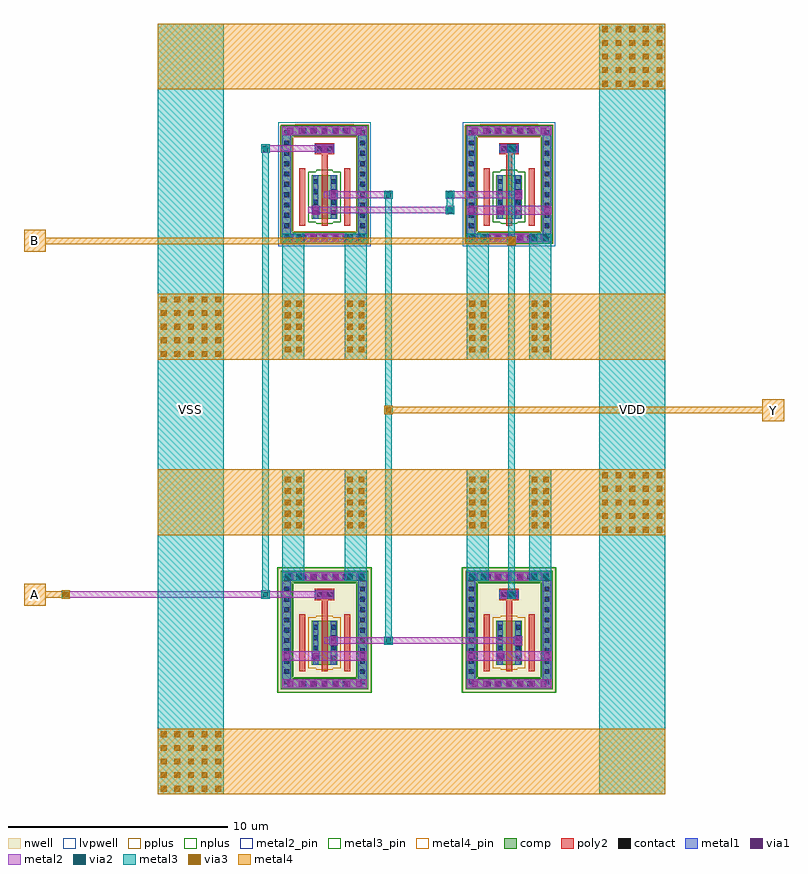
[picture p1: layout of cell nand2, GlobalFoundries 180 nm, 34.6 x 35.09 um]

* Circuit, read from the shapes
.subckt nand2 A B VDD VSS Y
XM1 Y A nand2_MN1_2/n1 VSS nfet_03v3 w=2u l=0.28u
XM2 nand2_MN1_2/n1 B VSS VSS nfet_03v3 w=2u l=0.28u
XM3 Y A VDD VDD pfet_03v3 w=2u l=0.28u
XM4 Y B VDD VDD pfet_03v3 w=2u l=0.28u
.ends

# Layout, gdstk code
import gdstk
lib = gdstk.Library(unit=1e-6, precision=1e-09)
def R(c, l, rs):  # rectangles x0, y0, x1, y1
    for r in rs: c.add(gdstk.rectangle(r[:2], r[2:], *l))
def A(c, l, x, y, w, h, nx, ny, dx, dy):  # array of equal rectangles
    R(c, l, [(x+i*dx, y+j*dy, x+i*dx+w, y+j*dy+h) for i in range(nx) for j in range(ny)])
nwell = (21, 0)
comp = (22, 0)
poly2 = (30, 0)
pplus = (31, 0)
nplus = (32, 0)
contact = (33, 0)
metal1 = (34, 0)
via1 = (35, 0)
metal2 = (36, 0)
metal2_pin = (36, 10)
via2 = (38, 0)
via3 = (40, 0)
metal3 = (42, 0)
metal3_pin = (42, 10)
metal4 = (46, 0)
metal4_pin = (46, 10)
lvpwell = (204, 0)

nand2_mp1 = lib.new_cell('nand2_MP1')
R(nand2_mp1, nwell, [(-1.52,-0.94,2.69,4.695)])
R(nand2_mp1, comp, [(-1.4,-0.82,2.57,-0.3), (-1.4,-0.3,-0.88,4.055), (2.05,-0.3,2.57,4.055), (0,0.3,1.17,2.3), (-1.4,4.055,2.57,4.575)])
R(nand2_mp1, poly2, [(-0.58,0,-0.3,2.6), (0.445,0,0.725,3.245), (1.47,0,1.75,2.6), (0.135,3.245,1.035,3.755)])
R(nand2_mp1, pplus, [(0.215,0.07,0.955,0.14), (-0.16,0.14,1.33,2.46), (0.215,2.46,0.955,2.53)])
R(nand2_mp1, nplus, [(-1.56,-0.98,2.73,-0.27), (-1.56,-0.27,-0.85,4.025), (2.02,-0.27,2.73,4.025), (-1.56,4.025,2.73,4.735)])
A(nand2_mp1, contact, -0.465, -0.67, 0.22, 0.22, 5, 2, 0.47, 4.875)
A(nand2_mp1, contact, -1.25, -0.585, 0.22, 0.22, 1, 11, 0, 0.47)
A(nand2_mp1, contact, 2.2, -0.585, 0.22, 0.22, 1, 11, 0, 0.47)
A(nand2_mp1, contact, 0.07, 0.485, 0.22, 0.22, 1, 4, 0, 0.47)
A(nand2_mp1, contact, 0.88, 0.485, 0.22, 0.22, 1, 4, 0, 0.47)
R(nand2_mp1, contact, [(0.24,3.39,0.46,3.61), (0.71,3.39,0.93,3.61)])
R(nand2_mp1, metal1, [(-1.335,-0.755,2.505,-0.365), (-1.335,-0.365,-0.945,4.12), (2.115,-0.365,2.505,4.12), (0.065,0.31,0.295,0.49), (0.875,0.31,1.105,1.19), (-0.01,0.49,0.37,0.91), (0.065,0.91,0.295,2.29), (0.8,1.19,1.18,1.61), (0.875,1.61,1.105,2.29), (0.145,3.31,1.025,3.69), (-1.335,4.12,2.505,4.51)])
A(nand2_mp1, via1, -1.105, -0.69, 0.26, 0.26, 7, 2, 0.52, 4.875)
R(nand2_mp1, via1, [(-1.27,0.57,-1.01,0.83), (0.05,0.57,0.31,0.83), (2.18,0.57,2.44,0.83), (0.86,1.27,1.12,1.53), (0.455,3.37,0.715,3.63)])
R(nand2_mp1, metal2, [(-1.335,-0.755,2.505,-0.365), (-1.335,0.49,2.505,0.91), (0.8,1.19,1.18,1.61), (0.2,3.31,0.97,3.69), (-1.335,4.12,2.505,4.51)])
R(nand2_mp1, metal2_pin, [(-1.335,-0.755,2.505,-0.365), (0.8,1.19,1.18,1.61), (0.2,3.31,0.97,3.69)])
nand2_mp1.add(gdstk.Label('Y', (0.99,1.4), layer=36, texttype=10))
nand2_mp1.add(gdstk.Label('A', (0.585,3.5), layer=36, texttype=10))
nand2_mp1.add(gdstk.Label('VDD', (0.585,-0.56), layer=36, texttype=10))

nand2_mp2 = lib.new_cell('nand2_MP2')
R(nand2_mp2, nwell, [(-1.52,-0.94,2.69,4.695)])
R(nand2_mp2, comp, [(-1.4,-0.82,2.57,-0.3), (-1.4,-0.3,-0.88,4.055), (2.05,-0.3,2.57,4.055), (0,0.3,1.17,2.3), (-1.4,4.055,2.57,4.575)])
R(nand2_mp2, poly2, [(-0.58,0,-0.3,2.6), (0.445,0,0.725,3.245), (1.47,0,1.75,2.6), (0.135,3.245,1.035,3.755)])
R(nand2_mp2, pplus, [(0.215,0.07,0.955,0.14), (-0.16,0.14,1.33,2.46), (0.215,2.46,0.955,2.53)])
R(nand2_mp2, nplus, [(-1.56,-0.98,2.73,-0.27), (-1.56,-0.27,-0.85,4.025), (2.02,-0.27,2.73,4.025), (-1.56,4.025,2.73,4.735)])
A(nand2_mp2, contact, -0.465, -0.67, 0.22, 0.22, 5, 2, 0.47, 4.875)
A(nand2_mp2, contact, -1.25, -0.585, 0.22, 0.22, 1, 11, 0, 0.47)
A(nand2_mp2, contact, 2.2, -0.585, 0.22, 0.22, 1, 11, 0, 0.47)
A(nand2_mp2, contact, 0.07, 0.485, 0.22, 0.22, 1, 4, 0, 0.47)
A(nand2_mp2, contact, 0.88, 0.485, 0.22, 0.22, 1, 4, 0, 0.47)
R(nand2_mp2, contact, [(0.24,3.39,0.46,3.61), (0.71,3.39,0.93,3.61)])
R(nand2_mp2, metal1, [(-1.335,-0.755,2.505,-0.365), (-1.335,-0.365,-0.945,4.12), (2.115,-0.365,2.505,4.12), (0.065,0.31,0.295,0.49), (0.875,0.31,1.105,1.19), (-0.01,0.49,0.37,0.91), (0.065,0.91,0.295,2.29), (0.8,1.19,1.18,1.61), (0.875,1.61,1.105,2.29), (0.145,3.31,1.025,3.69), (-1.335,4.12,2.505,4.51)])
A(nand2_mp2, via1, -1.105, -0.69, 0.26, 0.26, 7, 2, 0.52, 4.875)
R(nand2_mp2, via1, [(-1.27,0.57,-1.01,0.83), (0.05,0.57,0.31,0.83), (2.18,0.57,2.44,0.83), (0.86,1.27,1.12,1.53), (0.455,3.37,0.715,3.63)])
R(nand2_mp2, metal2, [(-1.335,-0.755,2.505,-0.365), (-1.335,0.49,2.505,0.91), (0.8,1.19,1.18,1.61), (0.2,3.31,0.97,3.69), (-1.335,4.12,2.505,4.51)])
R(nand2_mp2, metal2_pin, [(-1.335,-0.755,2.505,-0.365), (0.8,1.19,1.18,1.61), (0.2,3.31,0.97,3.69)])
nand2_mp2.add(gdstk.Label('Y', (0.99,1.4), layer=36, texttype=10))
nand2_mp2.add(gdstk.Label('B', (0.585,3.5), layer=36, texttype=10))
nand2_mp2.add(gdstk.Label('VDD', (0.585,-0.56), layer=36, texttype=10))

nand2_mn1 = lib.new_cell('nand2_MN1')
R(nand2_mn1, comp, [(-1.4,-0.82,2.57,-0.3), (-1.4,-0.3,-0.88,4.055), (2.05,-0.3,2.57,4.055), (0,0.3,1.17,2.3), (-1.4,4.055,2.57,4.575)])
R(nand2_mn1, poly2, [(-0.58,0,-0.3,2.6), (0.445,0,0.725,3.245), (1.47,0,1.75,2.6), (0.135,3.245,1.035,3.755)])
R(nand2_mn1, pplus, [(-0.74,-0.85,1.91,-0.84), (-1.42,-0.84,2.59,-0.795), (-1.43,-0.795,2.6,-0.27), (-1.43,-0.27,-0.85,4.025), (2.02,-0.27,2.6,4.025), (-1.43,4.025,2.6,4.55), (-1.42,4.55,2.59,4.595), (-0.74,4.595,1.91,4.605)])
R(nand2_mn1, nplus, [(0.215,0.07,0.955,0.14), (-0.16,0.14,1.33,2.46), (0.215,2.46,0.955,2.53)])
A(nand2_mn1, contact, -0.465, -0.67, 0.22, 0.22, 5, 2, 0.47, 4.875)
A(nand2_mn1, contact, -1.25, -0.585, 0.22, 0.22, 1, 11, 0, 0.47)
A(nand2_mn1, contact, 2.2, -0.585, 0.22, 0.22, 1, 11, 0, 0.47)
A(nand2_mn1, contact, 0.07, 0.485, 0.22, 0.22, 1, 4, 0, 0.47)
A(nand2_mn1, contact, 0.88, 0.485, 0.22, 0.22, 1, 4, 0, 0.47)
R(nand2_mn1, contact, [(0.24,3.39,0.46,3.61), (0.71,3.39,0.93,3.61)])
R(nand2_mn1, metal1, [(-1.335,-0.755,2.505,-0.365), (-1.335,-0.365,-0.945,4.12), (2.115,-0.365,2.505,4.12), (0.065,0.31,0.295,0.49), (0.875,0.31,1.105,1.19), (-0.01,0.49,0.37,0.91), (0.065,0.91,0.295,2.29), (0.8,1.19,1.18,1.61), (0.875,1.61,1.105,2.29), (0.145,3.31,1.025,3.69), (-1.335,4.12,2.505,4.51)])
A(nand2_mn1, via1, -1.105, -0.69, 0.26, 0.26, 7, 2, 0.52, 4.875)
R(nand2_mn1, via1, [(0.05,0.57,0.31,0.83), (0.86,1.27,1.12,1.53), (0.455,3.37,0.715,3.63)])
R(nand2_mn1, metal2, [(-1.335,-0.755,2.505,-0.365), (-0.01,0.49,0.37,0.91), (0.8,1.19,1.18,1.61), (0.2,3.31,0.97,3.69), (-1.335,4.12,2.505,4.51)])
R(nand2_mn1, metal2_pin, [(-1.335,-0.755,2.505,-0.365), (-0.01,0.49,0.37,0.91), (0.8,1.19,1.18,1.61), (0.2,3.31,0.97,3.69)])
R(nand2_mn1, lvpwell, [(-1.52,-0.94,2.69,4.695)])
nand2_mn1.add(gdstk.Label('n1', (0.18,0.7), layer=36, texttype=10))
nand2_mn1.add(gdstk.Label('Y', (0.99,1.4), layer=36, texttype=10))
nand2_mn1.add(gdstk.Label('A', (0.585,3.5), layer=36, texttype=10))
nand2_mn1.add(gdstk.Label('VSS', (0.585,-0.56), layer=36, texttype=10))

nand2_mn2 = lib.new_cell('nand2_MN2')
R(nand2_mn2, comp, [(-1.4,-0.82,2.57,-0.3), (-1.4,-0.3,-0.88,4.055), (2.05,-0.3,2.57,4.055), (0,0.3,1.17,2.3), (-1.4,4.055,2.57,4.575)])
R(nand2_mn2, poly2, [(-0.58,0,-0.3,2.6), (0.445,0,0.725,3.245), (1.47,0,1.75,2.6), (0.135,3.245,1.035,3.755)])
R(nand2_mn2, pplus, [(-0.74,-0.85,1.91,-0.84), (-1.42,-0.84,2.59,-0.795), (-1.43,-0.795,2.6,-0.27), (-1.43,-0.27,-0.85,4.025), (2.02,-0.27,2.6,4.025), (-1.43,4.025,2.6,4.55), (-1.42,4.55,2.59,4.595), (-0.74,4.595,1.91,4.605)])
R(nand2_mn2, nplus, [(0.215,0.07,0.955,0.14), (-0.16,0.14,1.33,2.46), (0.215,2.46,0.955,2.53)])
A(nand2_mn2, contact, -0.465, -0.67, 0.22, 0.22, 5, 2, 0.47, 4.875)
A(nand2_mn2, contact, -1.25, -0.585, 0.22, 0.22, 1, 11, 0, 0.47)
A(nand2_mn2, contact, 2.2, -0.585, 0.22, 0.22, 1, 11, 0, 0.47)
A(nand2_mn2, contact, 0.07, 0.485, 0.22, 0.22, 1, 4, 0, 0.47)
A(nand2_mn2, contact, 0.88, 0.485, 0.22, 0.22, 1, 4, 0, 0.47)
R(nand2_mn2, contact, [(0.24,3.39,0.46,3.61), (0.71,3.39,0.93,3.61)])
R(nand2_mn2, metal1, [(-1.335,-0.755,2.505,-0.365), (-1.335,-0.365,-0.945,4.12), (2.115,-0.365,2.505,4.12), (0.065,0.31,0.295,0.49), (0.875,0.31,1.105,1.19), (-0.01,0.49,0.37,0.91), (0.065,0.91,0.295,2.29), (0.8,1.19,1.18,1.61), (0.875,1.61,1.105,2.29), (0.145,3.31,1.025,3.69), (-1.335,4.12,2.505,4.51)])
A(nand2_mn2, via1, -1.105, -0.69, 0.26, 0.26, 7, 2, 0.52, 4.875)
R(nand2_mn2, via1, [(-1.27,0.57,-1.01,0.83), (0.05,0.57,0.31,0.83), (2.18,0.57,2.44,0.83), (0.86,1.27,1.12,1.53), (0.455,3.37,0.715,3.63)])
R(nand2_mn2, metal2, [(-1.335,-0.755,2.505,-0.365), (-1.335,0.49,2.505,0.91), (0.8,1.19,1.18,1.61), (0.2,3.31,0.97,3.69), (-1.335,4.12,2.505,4.51)])
R(nand2_mn2, metal2_pin, [(-1.335,-0.755,2.505,-0.365), (0.8,1.19,1.18,1.61), (0.2,3.31,0.97,3.69)])
R(nand2_mn2, lvpwell, [(-1.52,-0.94,2.69,4.695)])
nand2_mn2.add(gdstk.Label('n1', (0.99,1.4), layer=36, texttype=10))
nand2_mn2.add(gdstk.Label('B', (0.585,3.5), layer=36, texttype=10))
nand2_mn2.add(gdstk.Label('VSS', (0.585,-0.56), layer=36, texttype=10))

nand2 = lib.new_cell('nand2')
R(nand2, metal2, [(10.31,6.81,10.69,6.85), (7.55,6.85,16.25,7.15), (10.31,7.15,10.69,7.19), (-4.39,8.91,-4.01,8.95), (4.71,8.91,5.09,8.95), (15.91,8.91,16.29,9.29), (-4.39,8.95,7.85,9.25), (-4.39,9.25,-4.01,9.29), (4.71,9.25,5.09,9.29), (5.665,9.72,6.665,10.11), (8.505,9.72,9.505,10.11), (14.065,9.72,15.065,10.11), (16.905,9.72,17.905,10.11), (5.665,25.145,6.665,25.535), (8.505,25.145,9.505,25.535), (14.065,25.145,15.065,25.535), (16.905,25.145,17.905,25.535), (13.11,26.41,13.49,26.45), (6.85,26.45,13.49,26.75), (13.11,26.75,13.49,26.79), (10.31,27.11,10.69,27.15), (13.11,27.11,13.49,27.15), (7.55,27.15,10.69,27.45), (13.11,27.15,16.25,27.45), (10.31,27.45,10.69,27.49), (13.11,27.45,13.49,27.49), (4.71,29.21,5.09,29.25), (15.91,29.21,16.29,29.59), (4.71,29.25,7.85,29.55), (4.71,29.55,5.09,29.59)])
R(nand2, via2, [(10.37,6.87,10.63,7.13), (-4.33,8.97,-4.07,9.23), (4.77,8.97,5.03,9.23), (15.97,8.97,16.23,9.23), (5.775,9.785,6.035,10.045), (6.295,9.785,6.555,10.045), (8.615,9.785,8.875,10.045), (9.135,9.785,9.395,10.045), (14.175,9.785,14.435,10.045), (14.695,9.785,14.955,10.045), (17.015,9.785,17.275,10.045), (17.535,9.785,17.795,10.045), (5.775,25.21,6.035,25.47), (6.295,25.21,6.555,25.47), (8.615,25.21,8.875,25.47), (9.135,25.21,9.395,25.47), (14.175,25.21,14.435,25.47), (14.695,25.21,14.955,25.47), (17.015,25.21,17.275,25.47), (17.535,25.21,17.795,25.47), (13.17,26.47,13.43,26.73), (10.37,27.17,10.63,27.43), (13.17,27.17,13.43,27.43), (4.77,29.27,5.03,29.53), (15.97,29.27,16.23,29.53)])
A(nand2, via3, 0.13, 0.13, 0.26, 0.26, 5, 5, 0.62, 0.62)
A(nand2, via3, 20.22, 11.925, 0.26, 0.26, 5, 5, 0.62, 0.62)
A(nand2, via3, 5.775, 12.125, 0.26, 0.26, 1, 5, 0, 0.52)
A(nand2, via3, 6.295, 12.125, 0.26, 0.26, 1, 5, 0, 0.52)
A(nand2, via3, 8.615, 12.125, 0.26, 0.26, 1, 5, 0, 0.52)
A(nand2, via3, 9.135, 12.125, 0.26, 0.26, 1, 5, 0, 0.52)
A(nand2, via3, 14.175, 12.125, 0.26, 0.26, 1, 5, 0, 0.52)
A(nand2, via3, 14.695, 12.125, 0.26, 0.26, 1, 5, 0, 0.52)
A(nand2, via3, 17.015, 12.125, 0.26, 0.26, 1, 5, 0, 0.52)
A(nand2, via3, 17.535, 12.125, 0.26, 0.26, 1, 5, 0, 0.52)
A(nand2, via3, 0.13, 19.925, 0.26, 0.26, 5, 5, 0.62, 0.62)
A(nand2, via3, 5.775, 20.125, 0.26, 0.26, 1, 5, 0, 0.52)
A(nand2, via3, 6.295, 20.125, 0.26, 0.26, 1, 5, 0, 0.52)
A(nand2, via3, 8.615, 20.125, 0.26, 0.26, 1, 5, 0, 0.52)
A(nand2, via3, 9.135, 20.125, 0.26, 0.26, 1, 5, 0, 0.52)
A(nand2, via3, 14.175, 20.125, 0.26, 0.26, 1, 5, 0, 0.52)
A(nand2, via3, 14.695, 20.125, 0.26, 0.26, 1, 5, 0, 0.52)
A(nand2, via3, 17.015, 20.125, 0.26, 0.26, 1, 5, 0, 0.52)
A(nand2, via3, 17.535, 20.125, 0.26, 0.26, 1, 5, 0, 0.52)
A(nand2, via3, 20.22, 32.225, 0.26, 0.26, 5, 5, 0.62, 0.62)
R(nand2, via3, [(-4.33,8.97,-4.07,9.23), (10.37,17.37,10.63,17.63), (15.97,25.07,16.23,25.33)])
R(nand2, metal3, [(0,0,3,35.095), (20.09,0,23.09,35.095), (10.31,6.81,10.69,7.19), (10.35,7.19,10.65,17.31), (-4.39,8.91,-4.01,9.29), (4.71,8.91,5.09,9.29), (15.91,8.91,16.29,9.29), (4.75,9.29,5.05,29.21), (15.95,9.29,16.25,25.01), (5.665,9.72,6.665,14.795), (8.505,9.72,9.505,14.795), (14.065,9.72,15.065,14.795), (16.905,9.72,17.905,14.795), (10.31,17.31,10.69,17.69), (10.35,17.69,10.65,27.11), (5.665,19.795,6.665,25.535), (8.505,19.795,9.505,25.535), (14.065,19.795,15.065,25.535), (16.905,19.795,17.905,25.535), (15.91,25.01,16.29,25.39), (15.95,25.39,16.25,29.21), (13.11,26.41,13.49,26.79), (13.15,26.79,13.45,27.11), (10.31,27.11,10.69,27.49), (13.11,27.11,13.49,27.49), (4.71,29.21,5.09,29.59), (15.91,29.21,16.29,29.59)])
R(nand2, metal3_pin, [(0,0,3,35.095), (20.09,0,23.09,35.095)])
R(nand2, metal4, [(0,0,23.09,3), (-6.1,8.6,-5.1,8.95), (-4.39,8.91,-4.01,8.95), (-6.1,8.95,-4.01,9.25), (-6.1,9.25,-5.1,9.6), (-4.39,9.25,-4.01,9.29), (0,11.795,23.09,14.795), (27.5,17,28.5,17.35), (10.31,17.31,10.69,17.35), (10.31,17.35,28.5,17.65), (10.31,17.65,10.69,17.69), (27.5,17.65,28.5,18), (0,19.795,23.09,22.795), (-6.1,24.7,-5.1,25.05), (15.91,25.01,16.29,25.05), (-6.1,25.05,16.29,25.35), (-6.1,25.35,-5.1,25.7), (15.91,25.35,16.29,25.39), (0,32.095,23.09,35.095)])
R(nand2, metal4_pin, [(-6.1,8.6,-5.1,9.6), (27.5,17,28.5,18), (-6.1,24.7,-5.1,25.7)])
nand2.add(gdstk.Reference(nand2_mp1, (7,5.6)))
nand2.add(gdstk.Reference(nand2_mp2, (15.4,5.6)))
nand2.add(gdstk.Reference(nand2_mn1, (7,25.9)))
nand2.add(gdstk.Reference(nand2_mn2, (15.4,25.9)))
nand2.add(gdstk.Label('VSS', (1.5,17.547), layer=42, texttype=10))
nand2.add(gdstk.Label('VDD', (21.59,17.547), layer=42, texttype=10))
nand2.add(gdstk.Label('A', (-5.6,9.1), layer=46, texttype=10))
nand2.add(gdstk.Label('B', (-5.6,25.2), layer=46, texttype=10))
nand2.add(gdstk.Label('Y', (28,17.5), layer=46, texttype=10))

lib.write_gds('nand2.gds')
